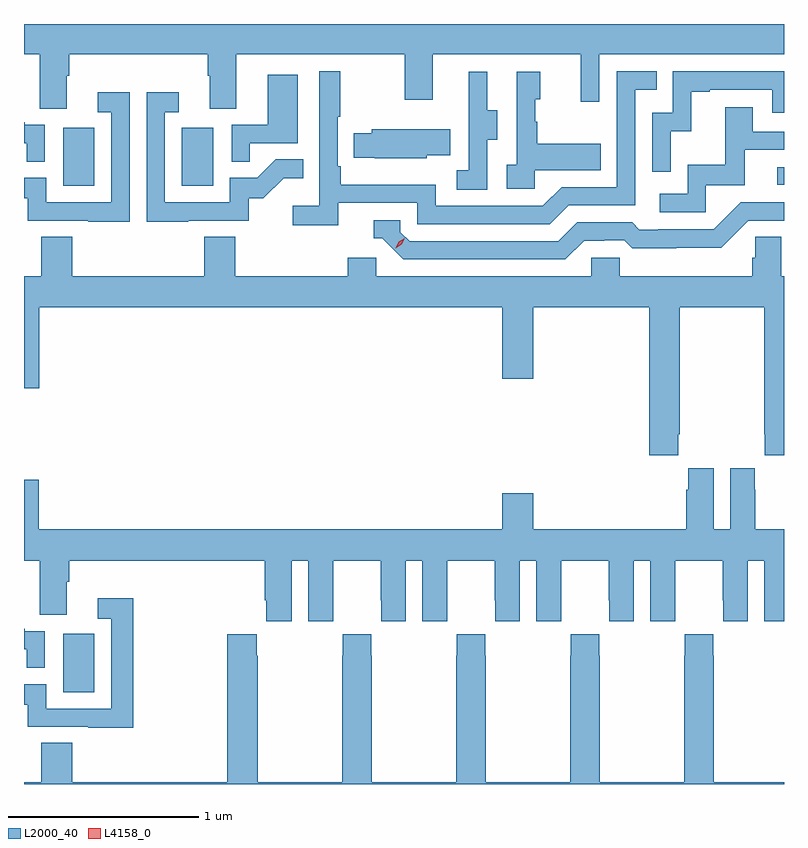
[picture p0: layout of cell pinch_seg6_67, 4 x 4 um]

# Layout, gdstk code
import gdstk
lib = gdstk.Library(unit=1e-6, precision=1e-09)
def R(c, l, rs):  # rectangles x0, y0, x1, y1
    for r in rs: c.add(gdstk.rectangle(r[:2], r[2:], *l))
def P(c, l, *ps):  # polygons
    for p in ps: c.add(gdstk.Polygon(p, *l))
L2000_40 = (2000, 40)
L4158_0 = (4158, 0)

pinch_seg6_67 = lib.new_cell('pinch_seg6_67')
R(pinch_seg6_67, L2000_40, [(893.966,930.66,894.13,930.967), (893.966,933.324,894.13,933.631), (894.59,933.324,894.754,933.631), (897.723,933.33,897.759,933.423)])
P(pinch_seg6_67, L2000_40, [(893.983,933.904),(893.996,933.904),(893.996,934.016),(894.725,934.016),(894.725,933.904),(894.737,933.904),(894.737,933.73),(894.877,933.73),(894.877,934.016),(895.762,934.016),(895.762,933.777),(895.909,933.777),(895.909,934.016),(896.69,934.016),(896.69,933.768),(896.787,933.768),(896.787,934.016),(897.759,934.016),(897.759,934.176),(893.759,934.176),(893.759,934.016),(893.843,934.016),(893.843,933.73),(893.983,933.73)],
  [(895.412,933.234),(895.83,933.234),(895.83,933.123),(896.527,933.123),(896.626,933.222),(896.976,933.222),(896.976,933.831),(897.089,933.831),(897.089,933.927),(896.88,933.927),(896.88,933.318),(896.589,933.318),(896.49,933.219),(895.926,933.219),(895.926,933.331),(895.427,933.331),(895.427,933.427),(895.41,933.427),(895.41,933.688),(895.423,933.688),(895.423,933.928),(895.314,933.928),(895.314,933.22),(895.173,933.22),(895.173,933.118),(895.412,933.118)],
  [(897.162,933.611),(897.272,933.611),(897.272,933.819),(897.367,933.819),(897.367,933.831),(897.696,933.831),(897.696,933.708),(897.759,933.708),(897.759,933.927),(897.174,933.927),(897.174,933.708),(897.066,933.708),(897.066,933.399),(897.162,933.399)],
  [(896.448,933.407),(896.795,933.407),(896.795,933.547),(896.461,933.547),(896.461,933.662),(896.451,933.662),(896.451,933.78),(896.476,933.78),(896.476,933.925),(896.352,933.925),(896.352,933.434),(896.301,933.434),(896.301,933.309),(896.448,933.309)],
  [(896.196,933.568),(896.251,933.568),(896.251,933.723),(896.197,933.723),(896.197,933.925),(896.099,933.925),(896.099,933.711),(896.1,933.711),(896.1,933.407),(896.037,933.407),(896.037,933.304),(896.196,933.304)],
  [(894.947,933.549),(895.201,933.549),(895.201,933.91),(895.043,933.91),(895.043,933.645),(894.852,933.645),(894.852,933.451),(894.947,933.451)],
  [(894.623,933.141),(894.942,933.141),(894.942,933.258),(895.018,933.258),(895.125,933.365),(895.229,933.365),(895.229,933.464),(895.085,933.464),(894.987,933.366),(894.843,933.366),(894.843,933.237),(894.501,933.237),(894.501,933.711),(894.574,933.711),(894.574,933.817),(894.405,933.817),(894.405,933.136),(894.623,933.136)],
  [(894.315,933.817),(894.147,933.817),(894.147,933.711),(894.219,933.711),(894.219,933.237),(893.877,933.237),(893.877,933.366),(893.759,933.366),(893.759,933.258),(893.779,933.258),(893.779,933.141),(894.097,933.141),(894.097,933.136),(894.315,933.136)],
  [(897.348,933.327),(897.553,933.327),(897.553,933.513),(897.759,933.513),(897.759,933.609),(897.595,933.609),(897.595,933.739),(897.451,933.739),(897.451,933.436),(897.252,933.436),(897.252,933.282),(897.105,933.282),(897.105,933.186),(897.348,933.186)],
  [(893.868,933.645),(893.762,933.645),(893.762,933.658),(893.759,933.658),(893.759,933.549),(893.773,933.549),(893.773,933.451),(893.868,933.451)],
  [(895.878,933.485),(896.003,933.485),(896.003,933.622),(895.589,933.622),(895.589,933.6),(895.495,933.6),(895.495,933.471),(895.606,933.471),(895.606,933.47),(895.878,933.47)],
  [(896.707,933.036),(896.814,933.036),(896.814,933.039),(896.917,933.039),(896.959,932.997),(897.192,932.997),(897.192,932.999),(897.428,932.999),(897.57,933.141),(897.759,933.141),(897.759,933.237),(897.531,933.237),(897.39,933.096),(897.097,933.096),(897.097,933.093),(896.998,933.093),(896.959,933.132),(896.67,933.132),(896.571,933.033),(895.788,933.033),(895.74,933.081),(895.74,933.144),(895.601,933.144),(895.601,933.048),(895.644,933.048),(895.755,932.937),(896.608,932.937)],
  [(897.203,932.017),(897.21,932.017),(897.21,932.684),(897.655,932.684),(897.655,932.017),(897.657,932.017),(897.657,931.905),(897.759,931.905),(897.759,932.848),(897.744,932.848),(897.744,933.056),(897.607,933.056),(897.607,932.946),(897.593,932.946),(897.593,932.848),(896.895,932.848),(896.895,932.946),(896.745,932.946),(896.745,932.848),(895.614,932.848),(895.614,932.946),(895.463,932.946),(895.463,932.848),(894.872,932.848),(894.872,933.056),(894.707,933.056),(894.707,932.848),(894.014,932.848),(894.014,933.056),(893.849,933.056),(893.849,932.848),(893.759,932.848),(893.759,932.259),(893.84,932.259),(893.84,932.684),(896.276,932.684),(896.276,932.31),(896.44,932.31),(896.44,932.684),(897.05,932.684),(897.05,931.905),(897.203,931.905)],
  [(897.437,931.144),(897.438,931.144),(897.438,931.032),(897.568,931.032),(897.568,931.352),(897.656,931.352),(897.656,931.032),(897.759,931.032),(897.759,931.516),(897.607,931.516),(897.607,931.724),(897.606,931.724),(897.606,931.837),(897.476,931.837),(897.476,931.516),(897.388,931.516),(897.388,931.837),(897.254,931.837),(897.254,931.724),(897.245,931.724),(897.245,931.516),(896.44,931.516),(896.44,931.705),(896.276,931.705),(896.276,931.516),(893.837,931.516),(893.837,931.777),(893.759,931.777),(893.759,931.352),(893.843,931.352),(893.843,931.066),(893.983,931.066),(893.983,931.24),(893.996,931.24),(893.996,931.352),(895.025,931.352),(895.025,931.144),(895.034,931.144),(895.034,931.032),(895.168,931.032),(895.168,931.352),(895.256,931.352),(895.256,931.032),(895.386,931.032),(895.386,931.144),(895.387,931.144),(895.387,931.352),(895.637,931.352),(895.637,931.144),(895.638,931.144),(895.638,931.032),(895.768,931.032),(895.768,931.352),(895.856,931.352),(895.856,931.032),(895.986,931.032),(895.986,931.144),(895.987,931.144),(895.987,931.352),(896.237,931.352),(896.237,931.144),(896.238,931.144),(896.238,931.032),(896.368,931.032),(896.368,931.352),(896.456,931.352),(896.456,931.032),(896.586,931.032),(896.586,931.144),(896.587,931.144),(896.587,931.352),(896.837,931.352),(896.837,931.144),(896.838,931.144),(896.838,931.032),(896.968,931.032),(896.968,931.352),(897.056,931.352),(897.056,931.032),(897.186,931.032),(897.186,931.144),(897.187,931.144),(897.187,931.352),(897.437,931.352)],
  [(894.335,931.153),(894.147,931.153),(894.147,931.047),(894.219,931.047),(894.219,930.573),(893.877,930.573),(893.877,930.702),(893.759,930.702),(893.759,930.594),(893.779,930.594),(893.779,930.477),(894.097,930.477),(894.097,930.472),(894.335,930.472)],
  [(893.868,930.981),(893.762,930.981),(893.762,930.994),(893.759,930.994),(893.759,930.885),(893.773,930.885),(893.773,930.787),(893.868,930.787)],
  [(897.759,930.184),(897.39,930.184),(897.39,930.851),(897.387,930.851),(897.387,930.964),(897.237,930.964),(897.237,930.851),(897.235,930.851),(897.235,930.184),(896.79,930.184),(896.79,930.851),(896.787,930.851),(896.787,930.964),(896.637,930.964),(896.637,930.851),(896.635,930.851),(896.635,930.184),(896.19,930.184),(896.19,930.851),(896.187,930.851),(896.187,930.964),(896.037,930.964),(896.037,930.851),(896.035,930.851),(896.035,930.184),(895.59,930.184),(895.59,930.851),(895.587,930.851),(895.587,930.964),(895.437,930.964),(895.437,930.851),(895.435,930.851),(895.435,930.184),(894.99,930.184),(894.99,930.851),(894.983,930.851),(894.983,930.964),(894.83,930.964),(894.83,930.184),(894.014,930.184),(894.014,930.392),(893.849,930.392),(893.849,930.184),(893.759,930.184),(893.759,930.176),(897.759,930.176)])
P(pinch_seg6_67, L4158_0, [(895.715,932.996),(895.715,932.997),(895.731,933.029),(895.762,933.049),(895.762,933.049),(895.762,933.049),(895.746,933.016),(895.715,932.996)])

lib.write_gds('pinch_seg6_67.gds')
